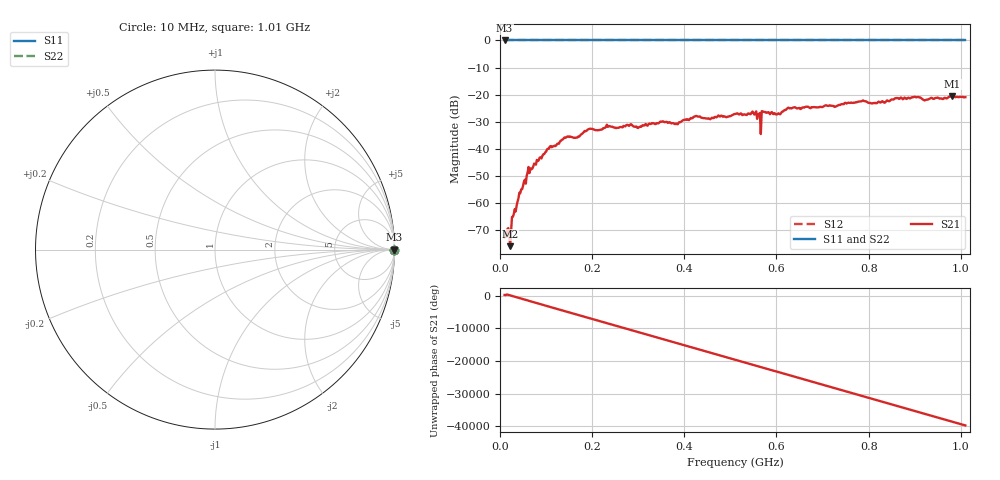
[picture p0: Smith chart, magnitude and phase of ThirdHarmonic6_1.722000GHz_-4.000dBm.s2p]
! 8/16/2025 8:43:36 PM
! C:\ANRITSUVNA\TEMP\TEMP.S2P
! CHANNEL.1
! TR.MEASUREMENT
! RAW.DATA
! RF.CORRECTION.OFF
! AVERAGING.OFF
! IF.BANDWIDTH: 5KHZ
! SWEEPTYPE:  FREQ.SWEEP(Linear)
! Reference Plane Port Info
! PORT:  PORT1  PORT2
! DISTANCE:  0  m  0  m
! TIME:  0  s  0  s
! PHASE.OFFSET:  0  deg.  0  deg.
! LOSS:  0  dB  0  dB
! REF.LOSS:  0  dB  0  dB
! REF.FREQ:  0  Hz  0  Hz
! Power Info
! POWER:  -20  dBm  -20  dBm
! EFF.POWER:  -20  dBm  -20  dBm
! SOURCE.ATTEN:  0  dB  0  dB
! TEST.ATTEN:  0  dB  0  dB
# GHZ S RI R 50.0
! FREQ.GHZ  S11RE  S11IM  S21RE  S21IM  S12RE  S12IM  S22RE  S22IM
!; PortSelection: Port_12
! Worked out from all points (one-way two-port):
!   501 points, 10 MHz to 1.01 GHz, reference 50 ohm
!   highest |S21| = -20.43 dB at 982 MHz (marker M1); lowest = -75.8 dB at 22 MHz (marker M2)
!   lowest |S11| = 0.0 dB at 10 MHz (marker M3)
!   |S11| at or under -10 dB: nowhere
!   |S22| runs from 0.0 to 0.0 dB; largest |S21 - S12| = 1.1
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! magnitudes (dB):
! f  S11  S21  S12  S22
! 10 MHz  0.0  -72.5  0.0  0.0
! 22 MHz  0.0  -75.8  0.0  0.0
! 42 MHz  0.0  -56.1  0.0  0.0
! 64 MHz  0.0  -48.9  0.0  0.0
! 106 MHz  0.0  -39.9  0.0  0.0
! 144 MHz  0.0  -35.7  0.0  0.0
! 178 MHz  0.0  -34.4  0.0  0.0
! 234 MHz  0.0  -31.9  0.0  0.0
! 302 MHz  0.0  -31.9  0.0  0.0
! 344 MHz  0.0  -30.5  0.0  0.0
! 382 MHz  0.0  -30.6  0.0  0.0
! 510 MHz  0.0  -27.1  0.0  0.0
! 552 MHz  0.0  -27.3  0.0  0.0
! 560 MHz  0.0  -27.1  0.0  0.0
! 562 MHz  0.0  -27.4  0.0  0.0
! 572 MHz  0.0  -26.3  0.0  0.0
! 604 MHz  0.0  -26.9  0.0  0.0
! 626 MHz  0.0  -24.8  0.0  0.0
! 678 MHz  0.0  -24.6  0.0  0.0
! 844 MHz  0.0  -22.4  0.0  0.0
! 982 MHz  0.0  -20.4  0.0  0.0
! 1.01 GHz  0.0  -20.9  0.0  0.0
